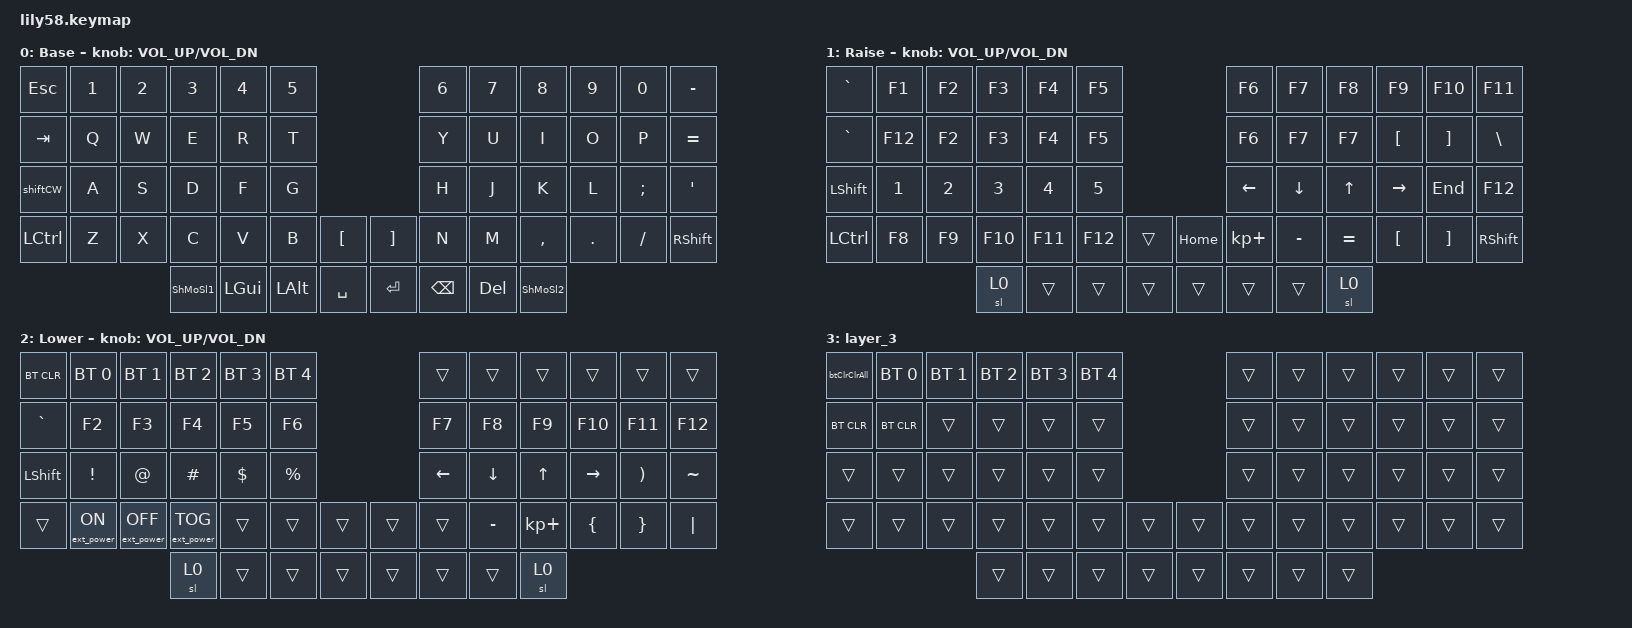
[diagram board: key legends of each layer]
/*
 * Copyright (c) 2020 The ZMK Contributors
 *
 * SPDX-License-Identifier: MIT
 */

#include <behaviors.dtsi>
#include <dt-bindings/zmk/bt.h>
#include <dt-bindings/zmk/ext_power.h>
#include <dt-bindings/zmk/keys.h>

/ {
    macros {
        new_macro: new_macro {
            compatible = "zmk,behavior-macro";
            #binding-cells = <0>;
            bindings = <&caps_word>;
            label = "NEW_MACRO";
        };
    };

    behaviors {
        shiftCW: shiftCW {
            compatible = "zmk,behavior-tap-dance";
            label = "SHIFTCW";
            #binding-cells = <0>;
            bindings = <&kp LSHIFT>, <&caps_word>;

            tapping-term-ms = <200>;
        };

        mosl2: mosl2 {
            compatible = "zmk,behavior-tap-dance";
            label = "MOSL2";
            #binding-cells = <0>;
            bindings = <&mo 2>, <&sl 2>;
        };

        mosl1: mosl1 {
            compatible = "zmk,behavior-tap-dance";
            label = "MOSL1";
            #binding-cells = <0>;
            bindings = <&mo 1>, <&sl 1>;
        };

        btClrClrAll: btClrClrAll {
            compatible = "zmk,behavior-tap-dance";
            label = "BTCLRCLRALL";
            #binding-cells = <0>;
            bindings = <&bt BT_CLR>, <&bt BT_CLR_ALL>;
        };

        ShMoSl1: ShMoSl1 {
            compatible = "zmk,behavior-mod-morph";
            label = "SHMOSL1";
            bindings = <&mo 1>, <&sl 1>;

            #binding-cells = <0>;
            mods = <(MOD_LSFT|MOD_RSFT)>;
        };

        ShMoSl2: ShMoSl2 {
            compatible = "zmk,behavior-mod-morph";
            label = "SHMOSL2";
            bindings = <&mo 2>, <&sl 2>;

            #binding-cells = <0>;
            mods = <(MOD_LSFT|MOD_RSFT)>;
        };
    };

    combos {
        compatible = "zmk,combos";

        btlayer {
            bindings = <&mo 3>;
            key-positions = <50 57>;
            layers = <0>;
        };
    };

    keymap {
        compatible = "zmk,keymap";

        default_layer {
            // ------------------------------------------------------------------------------------------------------------
            // |  ESC  |  1  |  2  |  3   |  4   |  5   |                   |  6   |  7    |  8    |  9   |   0   |   `   |
            // |  TAB  |  Q  |  W  |  E   |  R   |  T   |                   |  Y   |  U    |  I    |  O   |   P   |   -   |
            // |  CTRL |  A  |  S  |  D   |  F   |  G   |                   |  H   |  J    |  K    |  L   |   ;   |   '   |
            // | SHIFT |  Z  |  X  |  C   |  V   |  B   |   "["  |  |  "]"  |  N   |  M    |  ,    |  .   |   /   | SHIFT |
            //                     | ALT  | GUI  | LOWER|  SPACE |  | ENTER | RAISE| BSPC  | GUI   |

            label = "Base";
            bindings = <
&kp ESC    &kp N1  &kp N2  &kp N3    &kp N4    &kp N5                               &kp N6         &kp N7   &kp N8     &kp N9   &kp N0    &kp MINUS
&kp TAB    &kp Q   &kp W   &kp E     &kp R     &kp T                                &kp Y          &kp U    &kp I      &kp O    &kp P     &kp EQUAL
&shiftCW   &kp A   &kp S   &kp D     &kp F     &kp G                                &kp H          &kp J    &kp K      &kp L    &kp SEMI  &kp SQT
&kp LCTRL  &kp Z   &kp X   &kp C     &kp V     &kp B         &kp LBKT     &kp RBKT  &kp N          &kp M    &kp COMMA  &kp DOT  &kp FSLH  &kp RSHFT
                           &ShMoSl1  &kp LGUI  &kp LEFT_ALT  &kp SPACE    &kp RET   &kp BACKSPACE  &kp DEL  &ShMoSl2
            >;

            sensor-bindings = <&inc_dec_kp C_VOL_UP C_VOL_DN>;
        };

        raise_layer {
            // ------------------------------------------------------------------------------------------------------------
            // |       |     |     |      |      |      |                   |      |       |       |      |       |       |
            // |   `   |  1  |  2  |  3   |  4   |  5   |                   |  6   |   7   |   8   |  9   |   0   |       |
            // |   F1  |  F2 |  F3 |  F4  |  F5  |  F6  |                   |      |   <-  |   v   |  ^   |  ->   |       |
            // |   F7  |  F8 |  F9 |  F10 |  F11 |  F12 |        |  |       |  +   |   -   |   =   |  [   |   ]   |   \   |
            //                     |      |      |      |        |  |       |      |       |       |

            label = "Raise";
            bindings = <
&kp GRAVE       &kp F1   &kp F2  &kp F3   &kp F4   &kp F5                       &kp F6       &kp F7     &kp F8     &kp F9            &kp F10            &kp F11
&kp GRAVE       &kp F12  &kp F2  &kp F3   &kp F4   &kp F5                       &kp F6       &kp F7     &kp F7     &kp LEFT_BRACKET  &kp RIGHT_BRACKET  &kp BACKSLASH
&kp LEFT_SHIFT  &kp N1   &kp N2  &kp N3   &kp N4   &kp N5                       &kp LEFT     &kp DOWN   &kp UP     &kp RIGHT         &kp END            &kp F12
&kp LCTRL       &kp F8   &kp F9  &kp F10  &kp F11  &kp F12  &trans    &kp HOME  &kp KP_PLUS  &kp MINUS  &kp EQUAL  &kp LBKT          &kp RBKT           &kp RIGHT_SHIFT
                                 &sl 0    &trans   &trans   &trans    &trans    &trans       &trans     &sl 0
            >;

            sensor-bindings = <&inc_dec_kp C_VOL_UP C_VOL_DN>;
        };

        lower_layer {
            // ------------------------------------------------------------------------------------------------------------
            // | BTCLR | BT1 | BT2 |  BT3 |  BT4 |  BT5 |                   |      |       |       |      |       |       |
            // |  F1   |  F2 |  F3 |  F4  |  F5  |  F6  |                   |  F7  |  F8   |  F9   |  F10 |  F11  |  F12  |
            // |   `   |  !  |  @  |  #   |  $   |  %   |                   |  ^   |  &    |  *    |  (   |   )   |   ~   |
            // |       |     |     |      |      |      |        |  |       |      |  _    |  +    |  {   |   }   |  "|"  |
            //                     |      |      |      |        |  |       |      |       |       |

            label = "Lower";
            bindings = <
&bt BT_CLR      &bt BT_SEL 0      &bt BT_SEL 1       &bt BT_SEL 2       &bt BT_SEL 3  &bt BT_SEL 4                    &trans    &trans     &trans       &trans     &trans    &trans
&kp GRAVE       &kp F2            &kp F3             &kp F4             &kp F5        &kp F6                          &kp F7    &kp F8     &kp F9       &kp F10    &kp F11   &kp F12
&kp LEFT_SHIFT  &kp EXCL          &kp AT             &kp HASH           &kp DOLLAR    &kp PRCNT                       &kp LEFT  &kp DOWN   &kp UP       &kp RIGHT  &kp RPAR  &kp TILDE
&trans          &ext_power EP_ON  &ext_power EP_OFF  &ext_power EP_TOG  &trans        &trans        &trans    &trans  &trans    &kp MINUS  &kp KP_PLUS  &kp LBRC   &kp RBRC  &kp PIPE
                                                     &sl 0              &trans        &trans        &trans    &trans  &trans    &trans     &sl 0
            >;

            sensor-bindings = <&inc_dec_kp C_VOL_UP C_VOL_DN>;
        };

        layer_3 {
            bindings = <
&btClrClrAll  &bt BT_SEL 0  &bt BT_SEL 1  &bt BT_SEL 2  &bt BT_SEL 3  &bt BT_SEL 4                    &trans  &trans  &trans  &trans  &trans  &trans
&bt BT_CLR    &bt BT_CLR    &trans        &trans        &trans        &trans                          &trans  &trans  &trans  &trans  &trans  &trans
&trans        &trans        &trans        &trans        &trans        &trans                          &trans  &trans  &trans  &trans  &trans  &trans
&trans        &trans        &trans        &trans        &trans        &trans        &trans    &trans  &trans  &trans  &trans  &trans  &trans  &trans
                                          &trans        &trans        &trans        &trans    &trans  &trans  &trans  &trans
            >;
        };
    };
};
